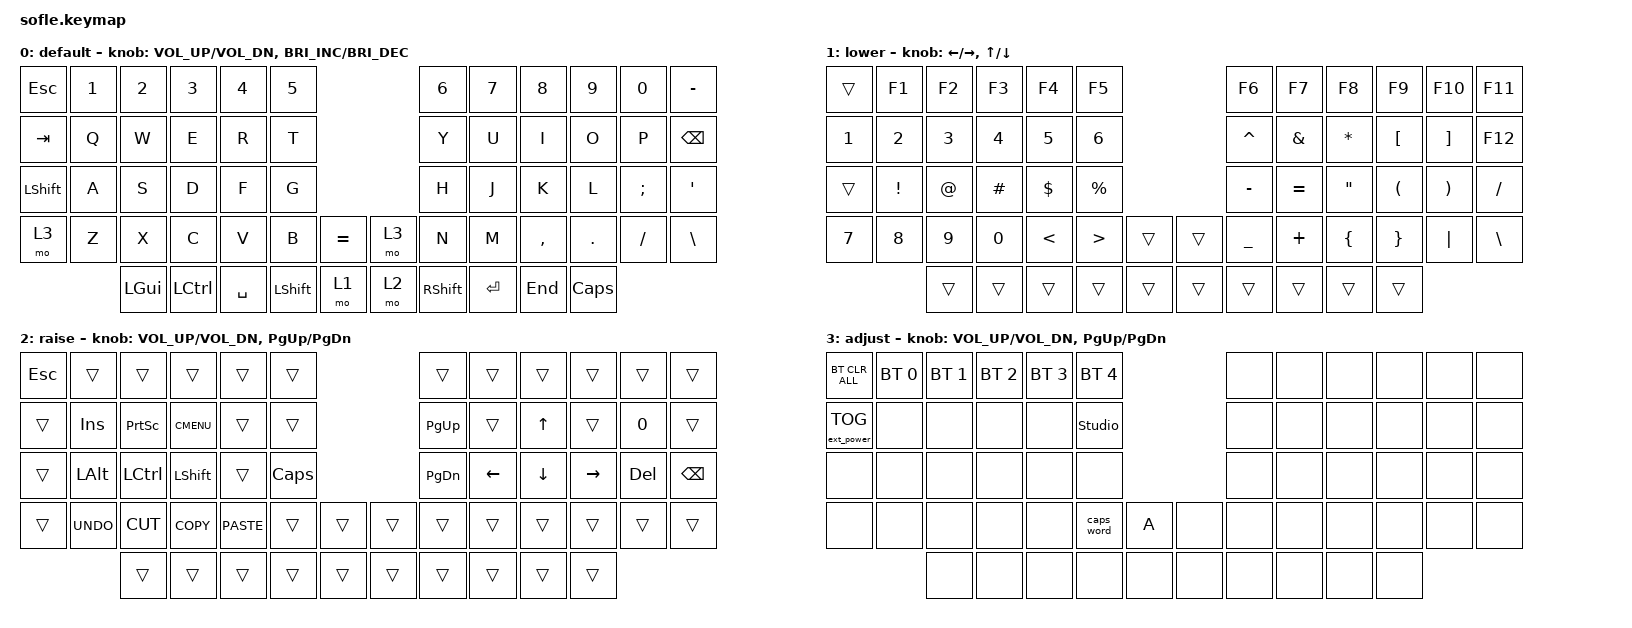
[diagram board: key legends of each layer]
/*
 * Copyright (c) 2020 The ZMK Contributors
 *
 * SPDX-License-Identifier: MIT
 */

#include <behaviors.dtsi>
#include <dt-bindings/zmk/bt.h>
#include <dt-bindings/zmk/ext_power.h>
#include <dt-bindings/zmk/keys.h>

#define BASE 0
#define LOWER 1
#define RAISE 2
#define ADJUST 3

/ {
    // Activate ADJUST layer by pressing raise and lower

    conditional_layers { compatible = "zmk,conditional-layers"; };

    combos {
        compatible = "zmk,combos";

        backspace {
            bindings = <&kp BACKSPACE>;
            key-positions = <32 31>;
        };

        delete {
            bindings = <&kp DELETE>;
            key-positions = <27 33>;
        };

        esc {
            bindings = <&kp ESCAPE>;
            key-positions = <25 41>;
        };

        shifttab {
            bindings = <&kp LS(TAB)>;
            key-positions = <16 17>;
        };

        copy {
            bindings = <&kp LC(C)>;
            key-positions = <38 39>;
        };

        paste {
            bindings = <&kp LC(V)>;
            key-positions = <39 40>;
        };

        screencap {
            bindings = <&screencap>;
            key-positions = <25 27 26 28>;
        };

        highlightall {
            bindings = <&kp LC(A)>;
            key-positions = <25 24>;
        };

        undo {
            bindings = <&kp LC(Z)>;
            key-positions = <37 38>;
        };

        redo {
            bindings = <&kp LC(Y)>;
            key-positions = <36 37>;
        };

        MacScreenShot {
            bindings = <&macscreenshot>;
            key-positions = <27 26 28>;
        };

        MacCopy {
            bindings = <&kp LG(C)>;
            key-positions = <39 40 38>;
        };

        MacPaste {
            bindings = <&kp LG(V)>;
            key-positions = <39 40 41>;
        };

        SleepDMFD {
            bindings = <&soft_off>;
            key-positions = <36 50>;
        };
    };

    macros {
        screencap: screencap {
            compatible = "zmk,behavior-macro";
            #binding-cells = <0>;
            bindings =
                <&macro_press>,
                <&kp LEFT_WIN &kp LEFT_SHIFT &kp S>,
                <&macro_release>,
                <&kp LEFT_WIN &kp LEFT_SHIFT &kp S>;

            label = "SCREENCAP";
        };

        macscreenshot: macscreenshot {
            compatible = "zmk,behavior-macro";
            #binding-cells = <0>;
            bindings =
                <&macro_press>,
                <&kp LEFT_COMMAND &kp LEFT_SHIFT &kp NUMBER_4>,
                <&macro_release>,
                <&kp LEFT_COMMAND &kp LEFT_SHIFT &kp NUMBER_4>;

            label = "MACSCREENSHOT";
        };
    };

    keymap {
        compatible = "zmk,keymap";

        // swap C_MUTE & EQUAL for encoder on the right

        default_layer {
            display-name = "default";

            // ------------------------------------------------------------------------------------------------------------
            // |   `   |  1  |  2  |  3   |  4   |  5   |                   |  6   |  7    |  8    |  9   |   0   |       |
            // |  ESC  |  Q  |  W  |  E   |  R   |  T   |                   |  Y   |  U    |  I    |  O   |   P   | BKSPC |
            // |  TAB  |  A  |  S  |  D   |  F   |  G   |                   |  H   |  J    |  K    |  L   |   ;   |   '   |
            // | SHIFT |  Z  |  X  |  C   |  V   |  B   |  MUTE  |  |       |  N   |  M    |  ,    |  .   |   /   | SHIFT |
            //               | GUI | ALT  | CTRL | LOWER|  ENTER |  | SPACE | RAISE| CTRL  | ALT   | GUI  |

            bindings = <
&kp ESC         &kp N1  &kp N2    &kp N3     &kp N4     &kp N5                              &kp N6           &kp N7     &kp N8     &kp N9        &kp N0    &kp MINUS
&kp TAB         &kp Q   &kp W     &kp E      &kp R      &kp T                               &kp Y            &kp U      &kp I      &kp O         &kp P     &kp BSPC
&kp LEFT_SHIFT  &kp A   &kp S     &kp D      &kp F      &kp G                               &kp H            &kp J      &kp K      &kp L         &kp SEMI  &kp SQT
&mo 3           &kp Z   &kp X     &kp C      &kp V      &kp B           &kp EQUAL    &mo 3  &kp N            &kp M      &kp COMMA  &kp DOT       &kp FSLH  &kp BACKSLASH
                        &kp LGUI  &kp LCTRL  &kp SPACE  &kp LEFT_SHIFT  &mo 1        &mo 2  &kp RIGHT_SHIFT  &kp ENTER  &kp END    &kp CAPSLOCK
            >;

            sensor-bindings =
                <&inc_dec_kp C_VOL_UP C_VOL_DN>,
                <&inc_dec_kp C_BRIGHTNESS_INC C_BRIGHTNESS_DEC>;
        };

        lower_layer {
            display-name = "lower";

            // TODO: Some binds are waiting for shifted keycode support.
            // ------------------------------------------------------------------------------------------------------------
            // |       |  F1 |  F2 |  F3  |  F4  |  F5  |                   |  F6  |  F7   |  F8   |  F9  |  F10  |  F11  |
            // |   `   |  1  |  2  |  3   |  4   |  5   |                   |  6   |  7    |  8    |  9   |   0   |  F12  |
            // |       |  !  |  @  |  #   |  $   |  %   |                   |  ^   |  &    |  *    |  (   |   )   |   |   |
            // |       |  =  |  -  |  +   |  {   |  }   |        |  |       |  [   |  ]    |  ;    |  :   |   \   |       |
            //               |     |      |      |      |        |  |       |      |       |       |      |

            bindings = <
&trans  &kp F1    &kp F2  &kp F3    &kp F4         &kp F5                              &kp F6          &kp F7         &kp F8             &kp F9                &kp F10                &kp F11
&kp N1  &kp N2    &kp N3  &kp N4    &kp N5         &kp NUMBER_6                        &kp CARET       &kp AMPERSAND  &kp ASTERISK       &kp LEFT_BRACKET      &kp RIGHT_BRACKET      &kp F12
&trans  &kp EXCL  &kp AT  &kp HASH  &kp DLLR       &kp PRCNT                           &kp MINUS       &kp EQUAL      &kp DOUBLE_QUOTES  &kp LEFT_PARENTHESIS  &kp RIGHT_PARENTHESIS  &kp SLASH
&kp N7  &kp N8    &kp N9  &kp N0    &kp LESS_THAN  &kp GREATER_THAN  &trans    &trans  &kp UNDERSCORE  &kp PLUS       &kp LEFT_BRACE     &kp RIGHT_BRACE       &kp PIPE               &kp BACKSLASH
                  &trans  &trans    &trans         &trans            &trans    &trans  &trans          &trans         &trans             &trans
            >;

            sensor-bindings =
                <&inc_dec_kp LEFT_ARROW RIGHT_ARROW>,
                <&inc_dec_kp UP_ARROW DOWN_ARROW>;
        };

        raise_layer {
            display-name = "raise";

            // ------------------------------------------------------------------------------------------------------------
            // | BTCLR | BT1  | BT2  |  BT3  |  BT4  |  BT5 |                |      |      |       |      |       |       |
            // |       | INS  | PSCR | GUI   |       |      |                | PGUP |      |   ^   |      |       |       |
            // |       | ALT  | CTRL | SHIFT |       | CAPS |                | PGDN |   <- |   v   |  ->  |  DEL  | BKSPC |
            // |       | UNDO | CUT  | COPY  | PASTE |      |      |  |      |      |      |       |      |       |       |
            //                |      |       |       |      |      |  |      |      |      |       |      |

            bindings = <
&kp ESC  &trans      &trans     &trans       &trans       &trans                      &trans     &trans    &trans    &trans     &trans   &trans
&trans   &kp INS     &kp PSCRN  &kp K_CMENU  &trans       &trans                      &kp PG_UP  &trans    &kp UP    &trans     &kp N0   &trans
&trans   &kp LALT    &kp LCTRL  &kp LSHFT    &trans       &kp CLCK                    &kp PG_DN  &kp LEFT  &kp DOWN  &kp RIGHT  &kp DEL  &kp BSPC
&trans   &kp K_UNDO  &kp K_CUT  &kp K_COPY   &kp K_PASTE  &trans    &trans    &trans  &trans     &trans    &trans    &trans     &trans   &trans
                     &trans     &trans       &trans       &trans    &trans    &trans  &trans     &trans    &trans    &trans
            >;

            sensor-bindings = <&inc_dec_kp C_VOL_UP C_VOL_DN &inc_dec_kp PG_UP PG_DN>;
        };

        adjust_layer {
            // ----------------------------------------------------------------------------------------------------------------------------
            // | BTCLR  |  BT1    |  BT2    |   BT3   |   BT4   |   BT5   |                  |      |      |       |      |       |       |
            // | EXTPWR | RGB_HUD | RGB_HUI | RGB_SAD | RGB_SAI | RGB_EFF |                  |      |      |       |      |       |       |
            // |        | RGB_BRD | RGB_BRI |         |         |         |                  |      |      |       |      |       |       |
            // |        |         |         |         |         |         | RGB_TOG | |      |      |      |       |      |       |       |
            //                    |         |         |         |         |         | |      |      |      |       |      |

            display-name = "adjust";
            bindings = <
&bt BT_CLR_ALL     &bt BT_SEL 0  &bt BT_SEL 1  &bt BT_SEL 2  &bt BT_SEL 3  &bt BT_SEL 4                    &none  &none  &none  &none  &none  &none
&ext_power EP_TOG  &none         &none         &none         &none         &studio_unlock                  &none  &none  &none  &none  &none  &none
&none              &none         &none         &none         &none         &none                           &none  &none  &none  &none  &none  &none
&none              &none         &none         &none         &none         &caps_word      &kp A    &none  &none  &none  &none  &none  &none  &none
                                 &none         &none         &none         &none           &none    &none  &none  &none  &none  &none
            >;

            sensor-bindings = <&inc_dec_kp C_VOL_UP C_VOL_DN &inc_dec_kp PG_UP PG_DN>;
        };
    };
};
